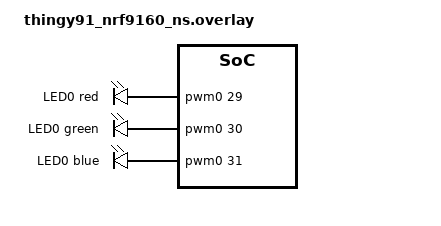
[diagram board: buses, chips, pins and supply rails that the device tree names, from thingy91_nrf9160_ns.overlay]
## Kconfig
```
#
# Copyright (c) 2020 Nordic Semiconductor ASA
#
# SPDX-License-Identifier: LicenseRef-Nordic-5-Clause
#

menu "Cloud Client Sample Settings"

config CLOUD_BACKEND
	string "Selects the cloud backend to be used"
	default "NRF_CLOUD"
	help
	  Possible values are "NRF_CLOUD", "AWS_IOT", "AZURE_IOT_HUB".

config CLOUD_MESSAGE
	string "Sets the custom message published periodically to cloud"
	default "{\"state\":{\"reported\":{\"message\":\"Hello Internet of Things!\"}}}"

config CLOUD_MESSAGE_PUBLICATION_INTERVAL
	int "Sets how often the custom message should be published to cloud, in seconds"
	default 10

config CLOUD_CONNECTION_RETRY_TIMEOUT_SECONDS
	int "Sets the number of seconds between each cloud connection retry"
	default 30

choice
	prompt "Cloud Publication Trigger"
	default CLOUD_PUBLICATION_BUTTON_PRESS

config CLOUD_PUBLICATION_BUTTON_PRESS
	bool "Triggers publication to cloud upon a button press"

config CLOUD_PUBLICATION_SEQUENTIAL
	bool "Sets sequential publication to cloud set by the CONFIG_MESSAGE_PUBLICATION_INTERVAL option"

endchoice

endmenu

module = CLOUD_CLIENT
module-str = Cloud client
source "${ZEPHYR_BASE}/subsys/logging/Kconfig.template.log_config"

menu "Zephyr Kernel"
source "Kconfig.zephyr"
endmenu
```

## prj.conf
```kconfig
#
# Copyright (c) 2020 Nordic Semiconductor ASA
#
# SPDX-License-Identifier: LicenseRef-Nordic-5-Clause
#

# General config
CONFIG_NEWLIB_LIBC=y
CONFIG_NEWLIB_LIBC_FLOAT_PRINTF=y
CONFIG_RESET_ON_FATAL_ERROR=n
CONFIG_NCS_SAMPLES_DEFAULTS=y

# Log level
# For more verbose and detailed log output, set the log level to
# CONFIG_CLOUD_CLIENT_LOG_LEVEL_DBG=y instead.
CONFIG_CLOUD_CLIENT_LOG_LEVEL_INF=y

# Network
CONFIG_NETWORKING=y
CONFIG_NET_NATIVE=n
CONFIG_NET_SOCKETS=y
CONFIG_NET_SOCKETS_OFFLOAD=y

# LTE link control
CONFIG_LTE_LINK_CONTROL=y
CONFIG_LTE_NETWORK_MODE_LTE_M=y
CONFIG_LTE_AUTO_INIT_AND_CONNECT=n

# Modem library
CONFIG_NRF_MODEM_LIB=y

# DK
CONFIG_DK_LIBRARY=y

# AT commands interface
CONFIG_UART_INTERRUPT_DRIVEN=y
CONFIG_AT_HOST_LIBRARY=y

# Generic cloud API
CONFIG_CLOUD_API=y

# Selected cloud backend
CONFIG_CLOUD_BACKEND="NRF_CLOUD"

# nRF Cloud
CONFIG_NRF_CLOUD_MQTT=y

# AWS IoT
# CONFIG_AWS_IOT=y
# CONFIG_AWS_IOT_CLIENT_ID_STATIC="my-thing"
# CONFIG_AWS_IOT_BROKER_HOST_NAME="example.endpoint.com"
# CONFIG_AWS_IOT_SEC_TAG=201
# CONFIG_AWS_IOT_TOPIC_UPDATE_DELTA_SUBSCRIBE=y

# Azure IoT Hub
# CONFIG_AZURE_IOT_HUB=y
# CONFIG_AZURE_IOT_HUB_DEVICE_ID="my-device"
# CONFIG_AZURE_IOT_HUB_HOSTNAME="example.endpoint.com"
# CONFIG_AZURE_IOT_HUB_SEC_TAG=10

# MQTT
CONFIG_MQTT_KEEPALIVE=1200

# Heap and stacks
# Extended memory heap size needed for encoding nRF Cloud messages to JSON
CONFIG_HEAP_MEM_POOL_SIZE=8192
CONFIG_MAIN_STACK_SIZE=4096
CONFIG_SYSTEM_WORKQUEUE_STACK_SIZE=2048

# Settings, used by nRF Cloud library.
CONFIG_SETTINGS=y
CONFIG_SETTINGS_FCB=y
CONFIG_FCB=y

# Flash storage, used by settings.
CONFIG_FLASH=y
CONFIG_FLASH_PAGE_LAYOUT=y
CONFIG_FLASH_MAP=y
CONFIG_MPU_ALLOW_FLASH_WRITE=y

CONFIG_SRAM_SIZE=128
CONFIG_SRAM_BASE_ADDRESS=0x20020000
CONFIG_SENSOR=y
CONFIG_NRFX_TWIM2=y
CONFIG_BME680=y
CONFIG_DATE_TIME=y
CONFIG_CAF=y
CONFIG_CAF_LEDS=y
CONFIG_PWM=y
CONFIG_LED=y
CONFIG_LED_PWM=y
```

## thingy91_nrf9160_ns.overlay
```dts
/ {
	pwmleds0 {
		compatible = "pwm-leds";
		status = "okay";
		pwm_led0: led_pwm_0 {
			status = "okay";
			pwms = <&pwm0 29>;
			label = "LED0 red";
		};
		pwm_led1: led_pwm_1 {
			status = "okay";
			pwms = <&pwm0 30>;
			label = "LED0 green";
		};
		pwm_led2: led_pwm_2 {
			status = "okay";
			pwms = <&pwm0 31>;
			label = "LED0 blue";
		};
	};
};  
```

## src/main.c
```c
/*
 * Copyright (c) 2020 Nordic Semiconductor ASA
 *
 * SPDX-License-Identifier: LicenseRef-Nordic-5-Clause
 */

#include <zephyr.h>
#include <stdio.h>
#include <modem/lte_lc.h>
#include <net/cloud.h>
#include <net/socket.h>
#include <dk_buttons_and_leds.h>

#include <logging/log.h>

LOG_MODULE_REGISTER(cloud_client, CONFIG_CLOUD_CLIENT_LOG_LEVEL);

static struct cloud_backend *cloud_backend;
static struct k_work_delayable cloud_update_work;
static struct k_work_delayable connect_work;

static K_SEM_DEFINE(lte_connected, 0, 1);

/* Flag to signify if the cloud client is connected or not connected to cloud,
 * used to abort/allow cloud publications.
 */
static bool cloud_connected;

static void connect_work_fn(struct k_work *work)
{
	int err;

	if (cloud_connected) {
		return;
	}

	err = cloud_connect(cloud_backend);
	if (err) {
		LOG_ERR("cloud_connect, error: %d", err);
	}

	LOG_INF("Next connection retry in %d seconds",
	       CONFIG_CLOUD_CONNECTION_RETRY_TIMEOUT_SECONDS);

	k_work_schedule(&connect_work,
		K_SECONDS(CONFIG_CLOUD_CONNECTION_RETRY_TIMEOUT_SECONDS));
}

static void cloud_update_work_fn(struct k_work *work)
{
	int err;

	if (!cloud_connected) {
		LOG_INF("Not connected to cloud, abort cloud publication");
		return;
	}

	LOG_INF("Publishing message: %s", log_strdup(CONFIG_CLOUD_MESSAGE));

	struct cloud_msg msg = {
		.qos = CLOUD_QOS_AT_MOST_ONCE,
		.buf = CONFIG_CLOUD_MESSAGE,
		.len = strlen(CONFIG_CLOUD_MESSAGE)
	};

	/* When using the nRF Cloud backend data is sent to the message topic.
	 * This is in order to visualize the data in the web UI terminal.
	 * For Azure IoT Hub and AWS IoT, messages are addressed directly to the
	 * device twin (Azure) or device shadow (AWS).
	 */
	if (strcmp(CONFIG_CLOUD_BACKEND, "NRF_CLOUD") == 0) {
		msg.endpoint.type = CLOUD_EP_MSG;
	} else {
		msg.endpoint.type = CLOUD_EP_STATE;
	}

	err = cloud_send(cloud_backend, &msg);
	if (err) {
		LOG_ERR("cloud_send failed, error: %d", err);
	}

#if defined(CONFIG_CLOUD_PUBLICATION_SEQUENTIAL)
	k_work_schedule(&cloud_update_work,
			K_SECONDS(CONFIG_CLOUD_MESSAGE_PUBLICATION_INTERVAL));
#endif
}

void cloud_event_handler(const struct cloud_backend *const backend,
			 const struct cloud_event *const evt,
			 void *user_data)
{
	ARG_UNUSED(user_data);
	ARG_UNUSED(backend);

	switch (evt->type) {
	case CLOUD_EVT_CONNECTING:
		LOG_INF("CLOUD_EVT_CONNECTING");
		break;
	case CLOUD_EVT_CONNECTED:
		LOG_INF("CLOUD_EVT_CONNECTED");
		cloud_connected = true;
		/* This may fail if the work item is already being processed,
		 * but in such case, the next time the work handler is executed,
		 * it will exit after checking the above flag and the work will
		 * not be scheduled again.
		 */
		(void)k_work_cancel_delayable(&connect_work);
		break;
	case CLOUD_EVT_READY:
		LOG_INF("CLOUD_EVT_READY");
#if defined(CONFIG_CLOUD_PUBLICATION_SEQUENTIAL)
		k_work_reschedule(&cloud_update_work, K_NO_WAIT);
#endif
		break;
	case CLOUD_EVT_DISCONNECTED:
		LOG_INF("CLOUD_EVT_DISCONNECTED");
		cloud_connected = false;
		k_work_reschedule(&connect_work, K_NO_WAIT);
		break;
	case CLOUD_EVT_ERROR:
		LOG_INF("CLOUD_EVT_ERROR");
		break;
	case CLOUD_EVT_DATA_SENT:
		LOG_INF("CLOUD_EVT_DATA_SENT");
		break;
	case CLOUD_EVT_DATA_RECEIVED:
		LOG_INF("CLOUD_EVT_DATA_RECEIVED");
		LOG_INF("Data received from cloud: %.*s",
			evt->data.msg.len,
			log_strdup(evt->data.msg.buf));
		break;
	case CLOUD_EVT_PAIR_REQUEST:
		LOG_INF("CLOUD_EVT_PAIR_REQUEST");
		break;
	case CLOUD_EVT_PAIR_DONE:
		LOG_INF("CLOUD_EVT_PAIR_DONE");
		break;
	case CLOUD_EVT_FOTA_DONE:
		LOG_INF("CLOUD_EVT_FOTA_DONE");
		break;
	case CLOUD_EVT_FOTA_ERROR:
		LOG_INF("CLOUD_EVT_FOTA_ERROR");
		break;
	default:
		LOG_INF("Unknown cloud event type: %d", evt->type);
		break;
	}
}

static void work_init(void)
{
	k_work_init_delayable(&cloud_update_work, cloud_update_work_fn);
	k_work_init_delayable(&connect_work, connect_work_fn);
}

static void lte_handler(const struct lte_lc_evt *const evt)
{
	switch (evt->type) {
	case LTE_LC_EVT_NW_REG_STATUS:
		if ((evt->nw_reg_status != LTE_LC_NW_REG_REGISTERED_HOME) &&
		     (evt->nw_reg_status != LTE_LC_NW_REG_REGISTERED_ROAMING)) {
			break;
		}

		LOG_INF("Network registration status: %s",
			evt->nw_reg_status == LTE_LC_NW_REG_REGISTERED_HOME ?
			"Connected - home network" : "Connected - roaming");
		k_sem_give(&lte_connected);
		break;
	case LTE_LC_EVT_PSM_UPDATE:
		LOG_DBG("PSM parameter update: TAU: %d, Active time: %d",
			evt->psm_cfg.tau, evt->psm_cfg.active_time);
		break;
	case LTE_LC_EVT_EDRX_UPDATE: {
		char log_buf[60];
		ssize_t len;

		len = snprintf(log_buf, sizeof(log_buf),
			       "eDRX parameter update: eDRX: %f, PTW: %f",
			       evt->edrx_cfg.edrx, evt->edrx_cfg.ptw);
		if (len > 0) {
			LOG_DBG("%s", log_strdup(log_buf));
		}
		break;
	}
	case LTE_LC_EVT_RRC_UPDATE:
		LOG_DBG("RRC mode: %s",
			evt->rrc_mode == LTE_LC_RRC_MODE_CONNECTED ?
			"Connected" : "Idle");
		break;
	case LTE_LC_EVT_CELL_UPDATE:
		LOG_DBG("LTE cell changed: Cell ID: %d, Tracking area: %d",
			evt->cell.id, evt->cell.tac);
		break;
	case LTE_LC_EVT_LTE_MODE_UPDATE:
		LOG_INF("Active LTE mode changed: %s",
			evt->lte_mode == LTE_LC_LTE_MODE_NONE ? "None" :
			evt->lte_mode == LTE_LC_LTE_MODE_LTEM ? "LTE-M" :
			evt->lte_mode == LTE_LC_LTE_MODE_NBIOT ? "NB-IoT" :
			"Unknown");
		break;
	case LTE_LC_EVT_MODEM_EVENT:
		LOG_INF("Modem domain event, type: %s",
			evt->modem_evt == LTE_LC_MODEM_EVT_LIGHT_SEARCH_DONE ?
				"Light search done" :
			evt->modem_evt == LTE_LC_MODEM_EVT_SEARCH_DONE ?
				"Search done" :
			evt->modem_evt == LTE_LC_MODEM_EVT_RESET_LOOP ?
				"Reset loop detected" :
			evt->modem_evt == LTE_LC_MODEM_EVT_BATTERY_LOW ?
				"Low battery" :
			evt->modem_evt == LTE_LC_MODEM_EVT_OVERHEATED ?
				"Modem is overheated" :
				"Unknown");
		break;
	default:
		break;
	}
}

static void modem_configure(void)
{
#if defined(CONFIG_NRF_MODEM_LIB)
	if (IS_ENABLED(CONFIG_LTE_AUTO_INIT_AND_CONNECT)) {
		/* Do nothing, modem is already configured and LTE connected. */
	} else {
		int err;


		err = lte_lc_psm_req(false);
		if (err) {
			LOG_ERR("Failed to set PSM parameters, error: %d",
				err);
		}

		LOG_INF("PSM disable requested");


		err = lte_lc_modem_events_enable();
		if (err) {
			LOG_ERR("lte_lc_modem_events_enable failed, error: %d",
				err);
			return;
		}

		err = lte_lc_init_and_connect_async(lte_handler);
		if (err) {
			LOG_ERR("Modem could not be configured, error: %d",
				err);
			return;
		}

		/* Check LTE events of type LTE_LC_EVT_NW_REG_STATUS in
		 * lte_handler() to determine when the LTE link is up.
		 */
	}
#endif
}

#if defined(CONFIG_CLOUD_PUBLICATION_BUTTON_PRESS)
static void button_handler(uint32_t button_states, uint32_t has_changed)
{
	if (has_changed & button_states & DK_BTN1_MSK) {
		k_work_reschedule(&cloud_update_work, K_NO_WAIT);
	}
}
#endif

void main(void)
{
	int err;

	LOG_INF("Cloud client has started");

	cloud_backend = cloud_get_binding(CONFIG_CLOUD_BACKEND);
	__ASSERT(cloud_backend != NULL, "%s backend not found",
		 CONFIG_CLOUD_BACKEND);

	err = cloud_init(cloud_backend, cloud_event_handler);
	if (err) {
		LOG_ERR("Cloud backend could not be initialized, error: %d",
			err);
	}

	work_init();
	modem_configure();

#if defined(CONFIG_CLOUD_PUBLICATION_BUTTON_PRESS)
	err = dk_buttons_init(button_handler);
	if (err) {
		LOG_ERR("dk_buttons_init, error: %d", err);
	}
#endif
	LOG_INF("Connecting to LTE network, this may take several minutes...");

	k_sem_take(&lte_connected, K_FOREVER);

	LOG_INF("Connected to LTE network");
	LOG_INF("Connecting to cloud");

	k_work_schedule(&connect_work, K_NO_WAIT);
}
```
